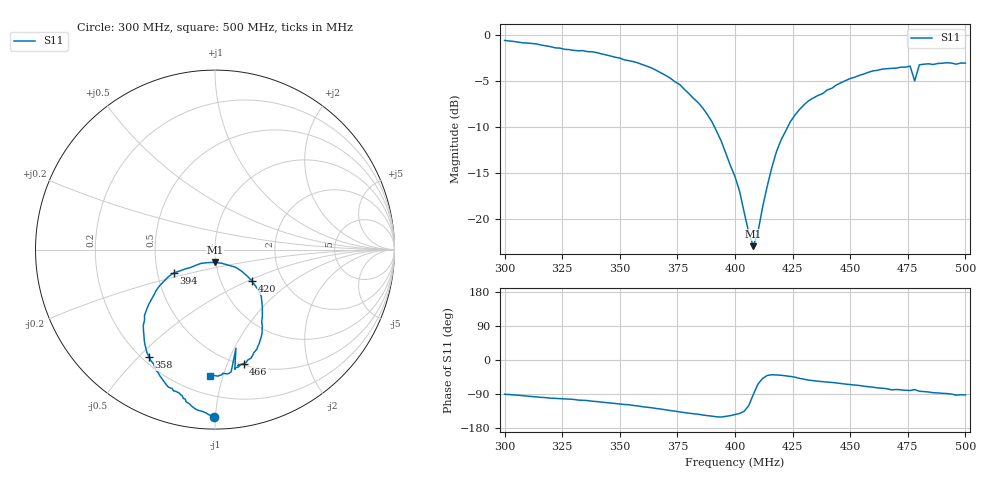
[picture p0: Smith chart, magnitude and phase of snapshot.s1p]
! Copper dipole approx 168 mm each arm after 2mm trim; same calibrated cable and repaired short feed
# Hz S RI R 50
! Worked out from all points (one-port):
!   101 points, 300 MHz to 500 MHz, reference 50 ohm
!   lowest |S11| = -23.0 dB at 408 MHz (marker M1), VSWR 1.15, Z = 49.5 - j7.08 ohm
!   |S11| at or under -10 dB: 391.1 MHz to 422.9 MHz (31.8 MHz wide, 7.81 % of centre)
!   S11 on the Smith chart (normalised r, x): 300 MHz: 0.07, -0.99; 358 MHz: 0.23, -0.54; 394 MHz: 0.61, -0.17; 420 MHz: 1.40, -0.52; 466 MHz: 0.51, -1.15; 500 MHz: 0.33, -0.91
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3e8  -0.00488 -0.9322
3.2e8  -0.1615 -0.8471
3.26e8  -0.1824 -0.8145
3.38e8  -0.2596 -0.7664
3.5e8  -0.3301 -0.6714
3.58e8  -0.3667 -0.5995
3.76e8  -0.3928 -0.3666
3.86e8  -0.3286 -0.2293
3.94e8  -0.231 -0.1304
4e8  -0.1373 -0.1002
4.02e8  -0.1098 -0.0888
4.06e8  -0.042 -0.0726
4.08e8  -0.000297 -0.0712
4.1e8  0.0385 -0.0764
4.12e8  0.0768 -0.0874
4.16e8  0.1483 -0.1199
4.2e8  0.205 -0.1737
4.26e8  0.2578 -0.2608
4.32e8  0.2638 -0.351
4.5e8  0.246 -0.5242
4.66e8  0.1598 -0.6352
4.68e8  0.1267 -0.6455
4.76e8  0.1104 -0.6671
4.78e8  0.1167 -0.5494
4.8e8  0.09 -0.6811
4.92e8  0.0174 -0.705
4.96e8  -0.0336 -0.692
5e8  -0.0272 -0.7018
